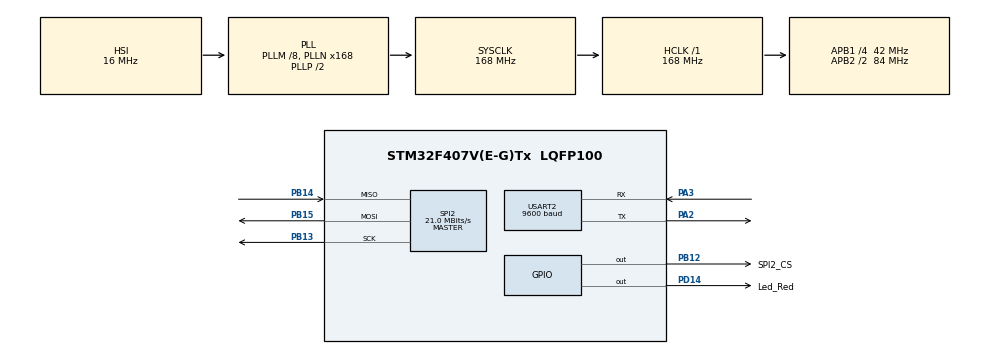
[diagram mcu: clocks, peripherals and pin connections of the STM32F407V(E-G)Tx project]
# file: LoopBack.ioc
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Mcu.Family=STM32F4
Mcu.Name=STM32F407V(E-G)Tx
Mcu.Package=LQFP100
NVIC.PriorityGroup=NVIC_PRIORITYGROUP_4
PA13.Mode=Serial_Wire
PA13.Signal=SYS_JTMS-SWDIO
PA14.Mode=Serial_Wire
PA14.Signal=SYS_JTCK-SWCLK
PA2.Mode=Asynchronous
PA2.Signal=USART2_TX
PA3.Mode=Asynchronous
PA3.Signal=USART2_RX
PB12.GPIO_Label=SPI2_CS
PB12.Signal=GPIO_Output
PB13.Mode=Full_Duplex_Master
PB13.Signal=SPI2_SCK
PB14.Mode=Full_Duplex_Master
PB14.Signal=SPI2_MISO
PB15.Mode=Full_Duplex_Master
PB15.Signal=SPI2_MOSI
PC14-OSC32_IN.Mode=LSE-External-Oscillator
PC14-OSC32_IN.Signal=RCC_OSC32_IN
PC15-OSC32_OUT.Mode=LSE-External-Oscillator
PC15-OSC32_OUT.Signal=RCC_OSC32_OUT
PD14.GPIO_Label=Led_Red
PD14.PinState=GPIO_PIN_RESET
PD14.Signal=GPIO_Output
PH0-OSC_IN.Mode=HSE-External-Oscillator
PH0-OSC_IN.Signal=RCC_OSC_IN
PH1-OSC_OUT.Mode=HSE-External-Oscillator
PH1-OSC_OUT.Signal=RCC_OSC_OUT
ProjectManager.HeapSize=0x200
ProjectManager.StackSize=0x400
ProjectManager.TargetToolchain=MDK-ARM V5.27
RCC.48MHZClocksFreq_Value=84000000
RCC.AHBFreq_Value=168000000
RCC.APB1CLKDivider=RCC_HCLK_DIV4
RCC.APB1Freq_Value=42000000
RCC.APB1TimFreq_Value=84000000
RCC.APB2CLKDivider=RCC_HCLK_DIV2
RCC.APB2Freq_Value=84000000
RCC.APB2TimFreq_Value=168000000
RCC.CortexFreq_Value=168000000
RCC.HCLKFreq_Value=168000000
RCC.HSE_VALUE=25000000
RCC.HSI_VALUE=16000000
RCC.PLLM=8
RCC.PLLN=168
RCC.SYSCLKFreq_VALUE=168000000
RCC.SYSCLKSource=RCC_SYSCLKSOURCE_PLLCLK
RCC.VCOOutputFreq_Value=336000000
SPI2.CalculateBaudRate=21.0 MBits/s
SPI2.Direction=SPI_DIRECTION_2LINES
SPI2.Mode=SPI_MODE_MASTER
SPI2.VirtualType=VM_MASTER
USART2.BaudRate=9600
USART2.VirtualMode=VM_ASYNC
board=custom

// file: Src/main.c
/* USER CODE BEGIN Header */
/**
  ******************************************************************************
  * @file           : main.c
  * @brief          : Main program body
  ******************************************************************************
  * @attention
  *
  * <h2><center>&copy; Copyright (c) 2020 STMicroelectronics.
  * All rights reserved.</center></h2>
  *
  * This software component is licensed by ST under BSD 3-Clause license,
  * the "License"; You may not use this file except in compliance with the
  * License. You may obtain a copy of the License at:
  *                        opensource.org/licenses/BSD-3-Clause
  *
  ******************************************************************************
  */
/* USER CODE END Header */

#include "main.h"

/* USER CODE BEGIN Includes */
#include <stdio.h>
#include <string.h>
#include <stdarg.h>
#include <stdbool.h>
#include "socket.h"
#include "loopback.h"
#include "my_function.h"

/* USER CODE END Includes */

/* USER CODE BEGIN PD */
#define DATA_BUF_SIZE   2048
#define SOCK_TCPS        0
#define SOCK_UDPS        1
/* USER CODE END PD */

SPI_HandleTypeDef hspi2;

UART_HandleTypeDef huart2;

/* USER CODE BEGIN PV */
extern uint8_t gDATABUF[DATA_BUF_SIZE];

/* USER CODE END PV */

void SystemClock_Config(void);
static void MX_GPIO_Init(void);
static void MX_SPI2_Init(void);
static void MX_USART2_UART_Init(void);
/* USER CODE BEGIN PFP */

int32_t loopback_tcps(uint8_t, uint8_t*, uint16_t);
int32_t loopback_udps(uint8_t, uint8_t*, uint16_t);
/* USER CODE END PFP */

int main(void)
{
  /* USER CODE BEGIN 1 */
  int32_t ret = 0;

  /* USER CODE END 1 */

  /* MCU Configuration--------------------------------------------------------*/

  /* Reset of all peripherals, Initializes the Flash interface and the Systick. */
  HAL_Init();

  /* Configure the system clock */
  SystemClock_Config();

  /* Initialize all configured peripherals */
  MX_GPIO_Init();
  MX_SPI2_Init();
  MX_USART2_UART_Init();
  /* USER CODE BEGIN 2 */

		/* Chip selection call back */
		Chip_selection_call_back();

		/* SPI Read & Write callback function */
		reg_wizchip_spi_cbfunc(wizchip_read, wizchip_write);

    /* wizchip initialize*/
		wizchip_initialize();

    /* Network initialization */
    network_init();
  /* USER CODE END 2 */

  /* Infinite loop */
  /* USER CODE BEGIN WHILE */
  while (1)
  {
//		/* Loopback Test */
//    	// TCP server loopback test
//    	if( (ret = loopback_tcps(SOCK_TCPS, gDATABUF, 5000)) < 0) {
//			UART_Printf("SOCKET ERROR : %ld\r\n", ret);
//		}

    	// UDP server loopback test
		//if( (ret = loopback_udps(SOCK_UDPS, gDATABUF, 3000)) < 0) {
		if( (ret = loopback_udps(SOCK_UDPS, gDATABUF, 3000)) < 0) {
			UART_Printf("SOCKET ERROR : %ld\r\n", ret);
		}

    /* USER CODE END WHILE */

  }
}

void SystemClock_Config(void)
{
  RCC_OscInitTypeDef RCC_OscInitStruct = {0};
  RCC_ClkInitTypeDef RCC_ClkInitStruct = {0};

  /** Configure the main internal regulator output voltage
  */
  __HAL_RCC_PWR_CLK_ENABLE();
  __HAL_PWR_VOLTAGESCALING_CONFIG(PWR_REGULATOR_VOLTAGE_SCALE1);
  /** Initializes the CPU, AHB and APB busses clocks
  */
  RCC_OscInitStruct.OscillatorType = RCC_OSCILLATORTYPE_HSI;
  RCC_OscInitStruct.HSIState = RCC_HSI_ON;
  RCC_OscInitStruct.HSICalibrationValue = RCC_HSICALIBRATION_DEFAULT;
  RCC_OscInitStruct.PLL.PLLState = RCC_PLL_ON;
  RCC_OscInitStruct.PLL.PLLSource = RCC_PLLSOURCE_HSI;
  RCC_OscInitStruct.PLL.PLLM = 8;
  RCC_OscInitStruct.PLL.PLLN = 168;
  RCC_OscInitStruct.PLL.PLLP = RCC_PLLP_DIV2;
  RCC_OscInitStruct.PLL.PLLQ = 4;
  if (HAL_RCC_OscConfig(&RCC_OscInitStruct) != HAL_OK)
  {
    Error_Handler();
  }
  /** Initializes the CPU, AHB and APB busses clocks
  */
  RCC_ClkInitStruct.ClockType = RCC_CLOCKTYPE_HCLK|RCC_CLOCKTYPE_SYSCLK
                              |RCC_CLOCKTYPE_PCLK1|RCC_CLOCKTYPE_PCLK2;
  RCC_ClkInitStruct.SYSCLKSource = RCC_SYSCLKSOURCE_PLLCLK;
  RCC_ClkInitStruct.AHBCLKDivider = RCC_SYSCLK_DIV1;
  RCC_ClkInitStruct.APB1CLKDivider = RCC_HCLK_DIV4;
  RCC_ClkInitStruct.APB2CLKDivider = RCC_HCLK_DIV2;

  if (HAL_RCC_ClockConfig(&RCC_ClkInitStruct, FLASH_LATENCY_5) != HAL_OK)
  {
    Error_Handler();
  }
}

static void MX_SPI2_Init(void)
{

  /* SPI2 parameter configuration*/
  hspi2.Instance = SPI2;
  hspi2.Init.Mode = SPI_MODE_MASTER;
  hspi2.Init.Direction = SPI_DIRECTION_2LINES;
  hspi2.Init.DataSize = SPI_DATASIZE_8BIT;
  hspi2.Init.CLKPolarity = SPI_POLARITY_LOW;
  hspi2.Init.CLKPhase = SPI_PHASE_1EDGE;
  hspi2.Init.NSS = SPI_NSS_SOFT;
  hspi2.Init.BaudRatePrescaler = SPI_BAUDRATEPRESCALER_2;
  hspi2.Init.FirstBit = SPI_FIRSTBIT_MSB;
  hspi2.Init.TIMode = SPI_TIMODE_DISABLE;
  hspi2.Init.CRCCalculation = SPI_CRCCALCULATION_DISABLE;
  hspi2.Init.CRCPolynomial = 10;
  if (HAL_SPI_Init(&hspi2) != HAL_OK)
  {
    Error_Handler();
  }

}

static void MX_USART2_UART_Init(void)
{

  huart2.Instance = USART2;
  huart2.Init.BaudRate = 9600;
  huart2.Init.WordLength = UART_WORDLENGTH_8B;
  huart2.Init.StopBits = UART_STOPBITS_1;
  huart2.Init.Parity = UART_PARITY_NONE;
  huart2.Init.Mode = UART_MODE_TX_RX;
  huart2.Init.HwFlowCtl = UART_HWCONTROL_NONE;
  huart2.Init.OverSampling = UART_OVERSAMPLING_16;
  if (HAL_UART_Init(&huart2) != HAL_OK)
  {
    Error_Handler();
  }

}

static void MX_GPIO_Init(void)
{
  GPIO_InitTypeDef GPIO_InitStruct = {0};

  /* GPIO Ports Clock Enable */
  __HAL_RCC_GPIOC_CLK_ENABLE();
  __HAL_RCC_GPIOH_CLK_ENABLE();
  __HAL_RCC_GPIOA_CLK_ENABLE();
  __HAL_RCC_GPIOB_CLK_ENABLE();
  __HAL_RCC_GPIOD_CLK_ENABLE();

  /*Configure GPIO pin Output Level */
  HAL_GPIO_WritePin(SPI2_CS_GPIO_Port, SPI2_CS_Pin, GPIO_PIN_RESET);

  /*Configure GPIO pin Output Level */
  HAL_GPIO_WritePin(Led_Red_GPIO_Port, Led_Red_Pin, GPIO_PIN_RESET);

  /*Configure GPIO pin : SPI2_CS_Pin */
  GPIO_InitStruct.Pin = SPI2_CS_Pin;
  GPIO_InitStruct.Mode = GPIO_MODE_OUTPUT_PP;
  GPIO_InitStruct.Pull = GPIO_NOPULL;
  GPIO_InitStruct.Speed = GPIO_SPEED_FREQ_LOW;
  HAL_GPIO_Init(SPI2_CS_GPIO_Port, &GPIO_InitStruct);

  /*Configure GPIO pin : Led_Red_Pin */
  GPIO_InitStruct.Pin = Led_Red_Pin;
  GPIO_InitStruct.Mode = GPIO_MODE_OUTPUT_PP;
  GPIO_InitStruct.Pull = GPIO_NOPULL;
  GPIO_InitStruct.Speed = GPIO_SPEED_FREQ_LOW;
  HAL_GPIO_Init(Led_Red_GPIO_Port, &GPIO_InitStruct);

}

/* USER CODE BEGIN 4 */
void  wizchip_select(void)
{
	 HAL_GPIO_WritePin(SPI2_CS_GPIO_Port, SPI2_CS_Pin, GPIO_PIN_RESET);
}

void  wizchip_deselect(void)
{
    HAL_GPIO_WritePin(SPI2_CS_GPIO_Port, SPI2_CS_Pin, GPIO_PIN_SET);
}

void  wizchip_write(uint8_t wb)
{
//HAL_SPI_TransmitReceive(&hspi2, &wb, &wb, 1,1000);
HAL_SPI_Transmit(&hspi2, &wb, 1, 1000);
}

uint8_t wizchip_read()
{
uint8_t wb=0xFF;
HAL_SPI_TransmitReceive(&hspi2, &wb, &wb, 1,1000);
return	wb;
}

/* USER CODE END 4 */

void Error_Handler(void)
{
}

/************************ (C) COPYRIGHT STMicroelectronics *****END OF FILE****/
